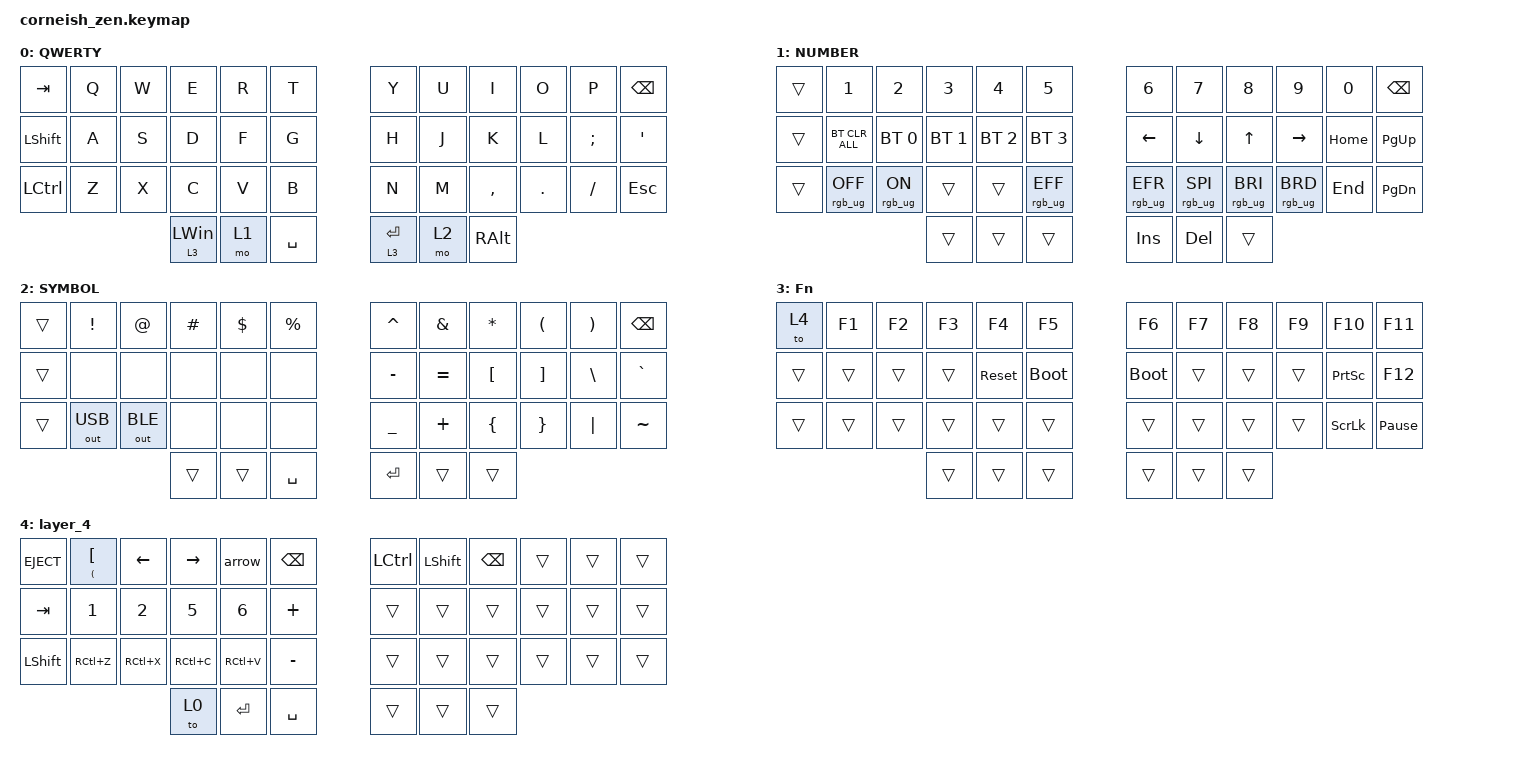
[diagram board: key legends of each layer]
/*
 * Copyright (c) 2020 The ZMK Contributors
 *
 * SPDX-License-Identifier: MIT
 */

#include <behaviors.dtsi>
#include <dt-bindings/zmk/bt.h>
#include <dt-bindings/zmk/keys.h>
#include <dt-bindings/zmk/outputs.h>
#include <dt-bindings/zmk/rgb.h>

/ {
    chosen {
        zmk,matrix_transform = &default_transform;

        // zmk,matrix_transform = &five_column_transform;
    };
};

/ {
    behaviors {
        td0: td0 {
            compatible = "zmk,behavior-tap-dance";
            label = "TD0";
            #binding-cells = <0>;
            bindings = <&kp LEFT_SHIFT>, <&kp CAPS>;
        };

        th: th {
            compatible = "zmk,behavior-hold-tap";
            label = "Tab orHold";
            bindings = <&kp>, <&kp>;

            #binding-cells = <2>;
            tapping-term-ms = <300>;
        };
    };

    combos {
        compatible = "zmk,combos";

        Obsidian {
            bindings = <&to 4>;
            key-positions = <0 36>;
        };
    };

    macros {
        arrow: arrow {
            compatible = "zmk,behavior-macro";
            #binding-cells = <0>;
            bindings = <&kp MINUS &kp GT>;
            label = "ARROW";
        };
    };

    keymap {
        compatible = "zmk,keymap";

        default_layer {
            display-name = "QWERTY";

            // --------------------------------------------------------------------------------
            // |  TAB |  Q  |  W  |  E  |  R  |  T  |   |  Y  |  U   |  I  |  O  |  P  | BKSP |
            // | CTRL |  A  |  S  |  D  |  F  |  G  |   |  H  |  J   |  K  |  L  |  ;  |  '   | 
            // | SHFT |  Z  |  X  |  C  |  V  |  B  |   |  N  |  M   |  ,  |  .  |  /  | ESC  |
            //                    | GUI | LWR | SPC |   | ENT | RSE  | ALT |

            bindings = <
&kp TAB           &kp Q  &kp W  &kp E           &kp R  &kp T        &kp Y        &kp U  &kp I      &kp O    &kp P     &kp BSPC
&kp LEFT_SHIFT    &kp A  &kp S  &kp D           &kp F  &kp G        &kp H        &kp J  &kp K      &kp L    &kp SEMI  &kp SQT
&kp LEFT_CONTROL  &kp Z  &kp X  &kp C           &kp V  &kp B        &kp N        &kp M  &kp COMMA  &kp DOT  &kp FSLH  &kp ESC
                                &lt 3 LEFT_WIN  &mo 1  &kp SPACE    &lt 3 ENTER  &mo 2  &kp RALT
            >;
        };

        lower_layer {
            display-name = "NUMBER";

            // -----------------------------------------------------------------------------------------
            // |  TAB |  1  |  2  |  3  |  4  |  5  |   |  6  |  7  |  8  |  9  |  0  | BKSP |
            // | BTCLR| BT1 | BT2 | BT3 | BT4 | BT5 |   | LFT | DWN |  UP | RGT |     |      |
            // | SHFT |     |     |     |     |     |   |     |     |     |     |     |      |
            //                    | GUI |     | SPC |   | ENT |     | ALT |

            bindings = <
&trans  &kp N1           &kp N2          &kp N3        &kp N4        &kp N5             &kp N6           &kp N7           &kp N8           &kp N9           &kp N0    &kp BSPC
&trans  &bt BT_CLR_ALL   &bt BT_SEL 0    &bt BT_SEL 1  &bt BT_SEL 2  &bt BT_SEL 3       &kp LEFT         &kp DOWN         &kp UP           &kp RIGHT        &kp HOME  &kp PG_UP
&trans  &rgb_ug RGB_OFF  &rgb_ug RGB_ON  &trans        &trans        &rgb_ug RGB_EFF    &rgb_ug RGB_EFR  &rgb_ug RGB_SPI  &rgb_ug RGB_BRI  &rgb_ug RGB_BRD  &kp END   &kp PG_DN
                                         &trans        &trans        &trans             &kp INS          &kp DEL          &trans
            >;
        };

        raise_layer {
            display-name = "SYMBOL";

            // -----------------------------------------------------------------------------------------
            // |  TAB |  !  |  @  |  #  |  $  |  %  |   |  ^  |  &  |  *  |  (  |  )  | BKSP |
            // | CTRL |     |     |     |     |     |   |  -  |  =  |  [  |  ]  |  \  |  `   |
            // | SHFT |     |     |     |     |     |   |  _  |  +  |  {  |  }  | "|" |  ~   |
            //                    | GUI |     | SPC |   | ENT |     | ALT |

            bindings = <
&trans  &kp EXCL      &kp AT        &kp HASH  &kp DLLR  &kp PRCNT    &kp CARET  &kp AMPS   &kp ASTRK  &kp LPAR  &kp RPAR  &kp BSPC
&trans  &none         &none         &none     &none     &none        &kp MINUS  &kp EQUAL  &kp LBKT   &kp RBKT  &kp BSLH  &kp GRAVE
&trans  &out OUT_USB  &out OUT_BLE  &none     &none     &none        &kp UNDER  &kp PLUS   &kp LBRC   &kp RBRC  &kp PIPE  &kp TILDE
                                    &trans    &trans    &kp SPACE    &kp RET    &trans     &trans
            >;
        };

        layer_3 {
            display-name = "Fn";
            bindings = <
&to 4   &kp F1  &kp F2  &kp F3  &kp F4      &kp F5         &kp F6       &kp F7  &kp F8  &kp F9  &kp F10          &kp F11
&trans  &trans  &trans  &trans  &sys_reset  &bootloader    &bootloader  &trans  &trans  &trans  &kp PRINTSCREEN  &kp F12
&trans  &trans  &trans  &trans  &trans      &trans         &trans       &trans  &trans  &trans  &kp SCROLLLOCK   &kp PAUSE_BREAK
                        &trans  &trans      &trans         &trans       &trans  &trans
            >;
        };

        layer_4 {
            bindings = <
&kp C_EJECT  &th LEFT_PARENTHESIS LEFT_BRACKET  &kp LEFT_ARROW  &kp RIGHT  &arrow     &kp BSPC     &kp LCTRL  &kp LSHFT  &kp BSPC  &trans  &trans  &trans
&kp TAB      &kp N1                             &kp N2          &kp N5     &kp N6     &kp PLUS     &trans     &trans     &trans    &trans  &trans  &trans
&kp LSHIFT   &kp RC(Z)                          &kp RC(X)       &kp RC(C)  &kp RC(V)  &kp MINUS    &trans     &trans     &trans    &trans  &trans  &trans
                                                                &to 0      &kp ENTER  &kp SPACE    &trans     &trans     &trans
            >;
        };
    };
};
